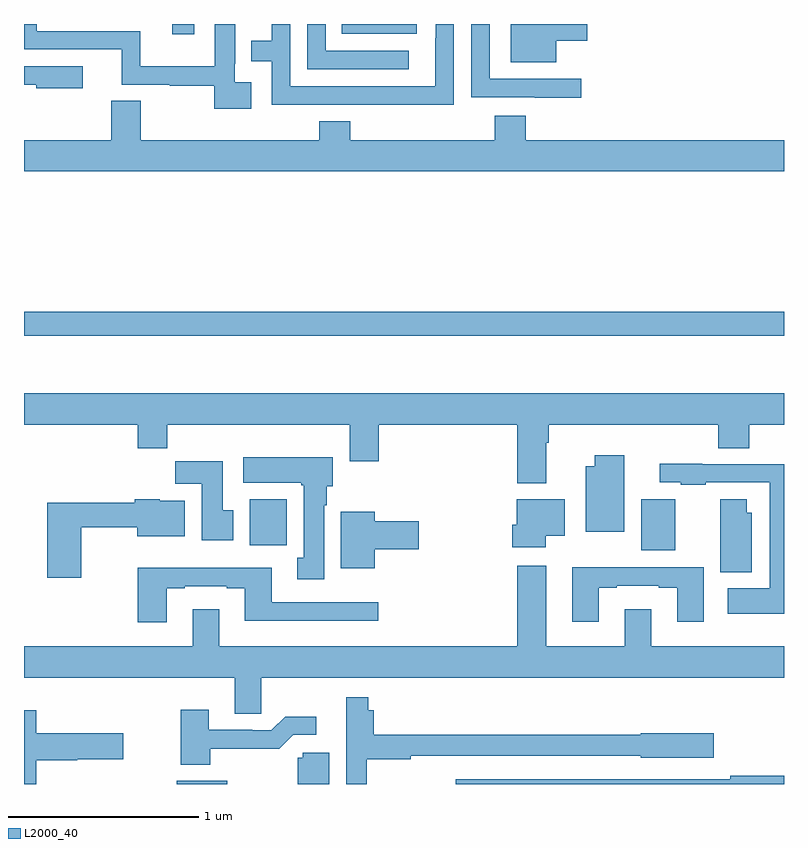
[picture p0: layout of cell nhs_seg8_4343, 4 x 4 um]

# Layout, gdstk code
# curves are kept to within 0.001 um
import gdstk
lib = gdstk.Library(unit=1e-6, precision=1e-09)
def R(c, l, rs):  # rectangles x0, y0, x1, y1
    for r in rs: c.add(gdstk.rectangle(r[:2], r[2:], *l))
def P(c, l, *ps):  # polygons
    for p in ps: c.add(gdstk.Polygon(p, *l))
L2000_40 = (2000, 40)

nhs_seg8_4343 = lib.new_cell('nhs_seg8_4343')
R(nhs_seg8_4343, L2000_40, [(375.805,1155.9,376.07,1155.916), (378.248,1157.129,378.427,1157.398), (376.187,1157.156,376.384,1157.398), (375,1158.258,379,1158.386), (375.78,1159.845,375.895,1159.9), (376.672,1159.85,377.068,1159.9)])
P(nhs_seg8_4343, L2000_40, [(376.195,1159.594),(376.11,1159.594),(376.11,1159.69),(376.111,1159.69),(376.111,1159.9),(376.004,1159.9),(376.004,1159.678),(375.613,1159.678),(375.613,1159.863),(375.066,1159.863),(375.066,1159.9),(375,1159.9),(375,1159.767),(375.515,1159.767),(375.515,1159.581),(375.768,1159.581),(375.768,1159.576),(376.002,1159.576),(376.002,1159.454),(376.195,1159.454)],
  [(377.026,1159.758),(376.587,1159.758),(376.587,1159.9),(376.491,1159.9),(376.491,1159.662),(377.026,1159.662)],
  [(377.932,1159.611),(377.451,1159.611),(377.451,1159.9),(377.355,1159.9),(377.355,1159.515),(377.687,1159.515),(377.687,1159.511),(377.932,1159.511)],
  [(377.8,1159.811),(377.965,1159.811),(377.965,1159.9),(377.561,1159.9),(377.561,1159.7),(377.8,1159.7)],
  [(377.262,1159.9),(377.166,1159.9),(377.166,1159.826),(377.165,1159.826),(377.165,1159.572),(376.401,1159.572),(376.401,1159.9),(376.304,1159.9),(376.304,1159.813),(376.196,1159.813),(376.196,1159.704),(376.305,1159.704),(376.305,1159.476),(376.801,1159.476),(376.801,1159.475),(377.262,1159.475)],
  [(375.31,1159.677),(375,1159.677),(375,1159.581),(375.065,1159.581),(375.065,1159.562),(375.31,1159.562)],
  [(379,1159.288),(377.642,1159.288),(377.642,1159.417),(377.477,1159.417),(377.477,1159.288),(376.718,1159.288),(376.718,1159.387),(376.553,1159.387),(376.553,1159.288),(375.615,1159.288),(375.615,1159.496),(375.46,1159.496),(375.46,1159.288),(375,1159.288),(375,1159.124),(379,1159.124)],
  [(377.749,1157.696),(377.762,1157.696),(377.762,1157.792),(378.653,1157.792),(378.653,1157.668),(378.818,1157.668),(378.818,1157.792),(379,1157.792),(379,1157.956),(375,1157.956),(375,1157.792),(375.599,1157.792),(375.599,1157.668),(375.755,1157.668),(375.755,1157.792),(376.715,1157.792),(376.715,1157.598),(376.868,1157.598),(376.868,1157.792),(377.597,1157.792),(377.597,1157.483),(377.749,1157.483)],
  [(378.16,1157.629),(378.005,1157.629),(378.005,1157.572),(377.957,1157.572),(377.957,1157.228),(378.16,1157.228)],
  [(376.579,1157.366),(376.594,1157.366),(376.594,1157.466),(376.624,1157.466),(376.624,1157.62),(376.155,1157.62),(376.155,1157.486),(376.459,1157.486),(376.459,1157.473),(376.472,1157.473),(376.472,1157.09),(376.439,1157.09),(376.439,1156.977),(376.579,1156.977)],
  [(376.102,1157.34),(376.045,1157.34),(376.045,1157.599),(375.796,1157.599),(375.796,1157.48),(375.935,1157.48),(375.935,1157.184),(376.102,1157.184)],
  [(379,1157.583),(378.569,1157.583),(378.569,1157.585),(378.345,1157.585),(378.345,1157.487),(378.457,1157.487),(378.457,1157.475),(378.587,1157.475),(378.587,1157.487),(378.926,1157.487),(378.926,1156.93),(378.705,1156.93),(378.705,1156.796),(379,1156.796)],
  [(375.3,1157.251),(375.596,1157.251),(375.596,1157.204),(375.847,1157.204),(375.847,1157.392),(375.714,1157.392),(375.714,1157.398),(375.584,1157.398),(375.584,1157.38),(375.122,1157.38),(375.122,1156.986),(375.3,1156.986)],
  [(378.829,1157.328),(378.805,1157.328),(378.805,1157.398),(378.665,1157.398),(378.665,1157.015),(378.829,1157.015)],
  [(377.747,1157.207),(377.845,1157.207),(377.845,1157.398),(377.594,1157.398),(377.594,1157.265),(377.569,1157.265),(377.569,1157.147),(377.747,1157.147)],
  [(376.846,1157.135),(377.077,1157.135),(377.077,1157.282),(376.846,1157.282),(376.846,1157.332),(376.667,1157.332),(376.667,1157.036),(376.846,1157.036)],
  [(376.248,1156.46),(379,1156.46),(379,1156.624),(378.301,1156.624),(378.301,1156.819),(378.161,1156.819),(378.161,1156.624),(377.749,1156.624),(377.749,1157.05),(377.597,1157.05),(377.597,1156.624),(376.027,1156.624),(376.027,1156.819),(375.887,1156.819),(375.887,1156.624),(375,1156.624),(375,1156.46),(376.109,1156.46),(376.109,1156.27),(376.248,1156.27)],
  [(378.025,1156.932),(378.121,1156.932),(378.121,1156.944),(378.341,1156.944),(378.341,1156.932),(378.437,1156.932),(378.437,1156.755),(378.577,1156.755),(378.577,1157.04),(378.121,1157.04),(378.121,1157.042),(377.885,1157.042),(377.885,1156.755),(378.025,1156.755)],
  [(375.751,1156.929),(375.847,1156.929),(375.847,1156.941),(376.067,1156.941),(376.067,1156.929),(376.163,1156.929),(376.163,1156.76),(376.864,1156.76),(376.864,1156.857),(376.303,1156.857),(376.303,1157.038),(375.599,1157.038),(375.599,1156.752),(375.751,1156.752)],
  [(376.804,1156.03),(377.036,1156.03),(377.036,1156.05),(378.246,1156.05),(378.246,1156.037),(378.631,1156.037),(378.631,1156.167),(378.246,1156.167),(378.246,1156.159),(376.841,1156.159),(376.841,1156.288),(376.811,1156.288),(376.811,1156.357),(376.695,1156.357),(376.695,1155.9),(376.804,1155.9)],
  [(375.981,1156.086),(376.343,1156.085),(376.416,1156.158),(376.537,1156.158),(376.537,1156.255),(376.375,1156.255),(376.302,1156.182),(376.202,1156.182),(376.202,1156.185),(375.973,1156.185),(375.973,1156.291),(375.826,1156.291),(375.826,1156.001),(375.981,1156.001)],
  [(375.065,1156.025),(375.279,1156.025),(375.279,1156.03),(375.523,1156.03),(375.523,1156.167),(375.065,1156.167),(375.065,1156.288),(375,1156.288),(375,1155.9),(375.065,1155.9)],
  [(376.606,1156.065),(376.467,1156.065),(376.467,1156.038),(376.442,1156.038),(376.442,1155.9),(376.606,1155.9)],
  [(379,1155.944),(378.718,1155.944),(378.718,1155.924),(377.273,1155.924),(377.273,1155.9),(379,1155.9)])

lib.write_gds('nhs_seg8_4343.gds')
